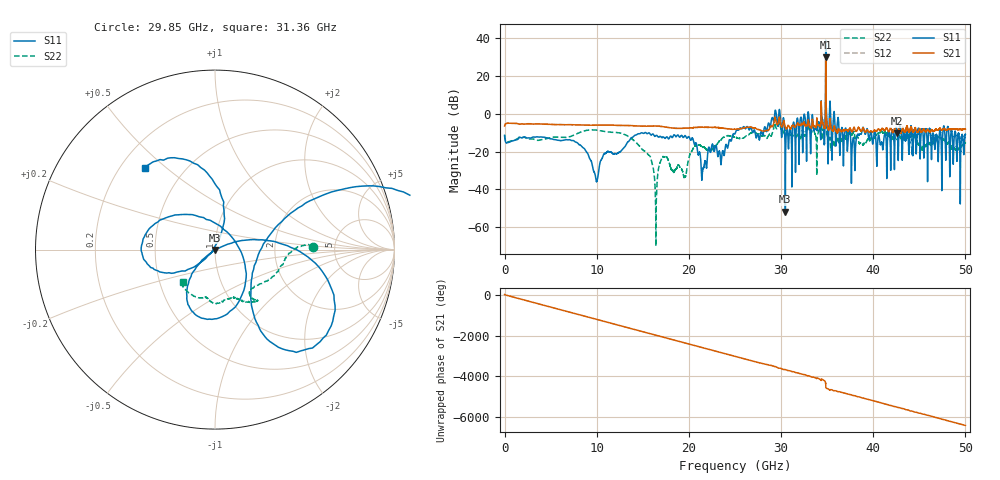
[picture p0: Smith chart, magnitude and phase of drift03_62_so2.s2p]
!Created with skrf (http://scikit-rf.org).
# Hz S RI R 50.0
!freq ReS11 ImS11 ReS21 ImS21 ReS12 ImS12 ReS22 ImS22
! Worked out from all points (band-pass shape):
!   10001 points, 300 kHz to 50 GHz, reference 50 ohm
!   highest |S21| = 29.88 dB at 34.85 GHz (marker M1); lowest = -10.4 dB at 42.55 GHz (marker M2)
!   |S21| within 3 dB of the highest: 34.84405 GHz to 34.84588 GHz (1.83 MHz wide, 0.00525 % of centre)
!   lowest |S11| = -51.8 dB at 30.47 GHz (marker M3), VSWR 1.01, Z = 49.8 - j0.188 ohm
!   |S11| at or under -10 dB: start of sweep to 15.23 GHz; 15.32 GHz to 25.05 GHz (9.734 GHz wide, 48.2 % of centre); 40.22 GHz to 41.62 GHz (1.397 GHz wide, 3.41 % of centre) (the widest 3 of 54)
!   |S22| runs from -70.1 to 20.8 dB; largest |S21 - S12| = 4.5
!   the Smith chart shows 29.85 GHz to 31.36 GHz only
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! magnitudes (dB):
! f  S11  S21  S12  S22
! 300 kHz  -11.4  -6.5  -6.5  -11.3
! 8.335 GHz  -17.1  -6.0  -6.0  -9.6
! 9.955 GHz  -35.7  -6.1  -6.1  -8.7
! 11 GHz  -20.8  -6.1  -6.1  -9.5
! 13.96 GHz  -12.2  -6.4  -6.3  -13.8
! 16.36 GHz  -11.9  -6.5  -6.5  -42.4
! 16.67 GHz  -12.4  -6.6  -6.5  -29.9
! 17.34 GHz  -12.8  -6.9  -6.9  -22.9
! 19.55 GHz  -11.7  -7.7  -7.7  -33.4
! 20.21 GHz  -13.8  -7.4  -7.5  -20.4
! 21.55 GHz  -28.9  -7.2  -7.1  -17.8
! 25 GHz  -10.6  -8.2  -8.2  -12.6
! 29.6 GHz  -5.6  -5.7  -5.9  -7.9
! 30.47 GHz  -51.8  -7.2  -7.2  -9.0
! 33.34 GHz  -3.8  -6.8  -6.7  -9.3
! 34.85 GHz  38.7  29.9  29.6  20.8
! 35.61 GHz  -8.2  -9.4  -9.2  -16.6
! 37.83 GHz  -12.7  -8.2  -8.3  -9.8
! 38.82 GHz  -8.4  -8.1  -8.1  -16.2
! 41.67 GHz  -9.2  -9.5  -9.4  -11.5
! 42.55 GHz  -8.3  -10.4  -10.4  -13.4
! 50 GHz  -10.9  -8.2  -8.3  -15.6
